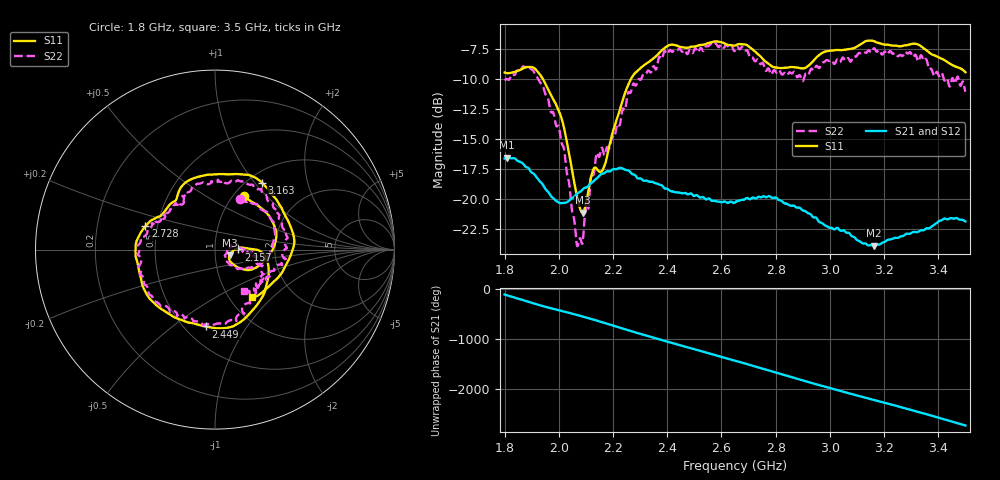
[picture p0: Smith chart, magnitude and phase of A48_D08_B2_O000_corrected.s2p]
! Created with skrf 1.9.0 (http://scikit-rf.org).
# Hz S RI R 50.0
!freq ReS11 ImS11 ReS21 ImS21 ReS12 ImS12 ReS22 ImS22
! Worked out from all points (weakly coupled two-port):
!   1601 points, 1.8 GHz to 3.5 GHz, reference 50 ohm
!   highest |S21| = -16.56 dB at 1.81 GHz (marker M1); lowest = -23.9 dB at 3.161 GHz (marker M2)
!   lowest |S11| = -21.2 dB at 2.088 GHz (marker M3), VSWR 1.19, Z = 58.7 - j3.85 ohm
!   |S11| at or under -10 dB: 1.942 GHz to 2.266 GHz (324.2 MHz wide, 15.4 % of centre)
!   |S22| runs from -24.0 to -7.0 dB; largest |S21 - S12| = 0.0027
!   S11 on the Smith chart (normalised r, x): 1.8 GHz: 1.12, +0.75; 2.157 GHz: 1.30, +0.00; 2.449 GHz: 0.63, -0.67; 2.728 GHz: 0.43, +0.13; 3.163 GHz: 1.16, +1.09; 3.5 GHz: 1.27, -0.76
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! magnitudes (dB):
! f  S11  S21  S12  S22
! 1.8 GHz  -9.4  -16.6  -16.6  -10.1
! 1.81 GHz  -9.5  -16.6  -16.6  -10.0
! 1.886 GHz  -9.0  -17.4  -17.5  -8.9
! 1.94 GHz  -9.9  -18.8  -18.8  -10.5
! 2.011 GHz  -13.4  -20.4  -20.4  -15.4
! 2.065 GHz  -19.5  -19.6  -19.6  -23.5
! 2.084 GHz  -21.1  -19.3  -19.3  -23.6
! 2.088 GHz  -21.2  -19.2  -19.2  -23.7
! 2.127 GHz  -17.5  -18.6  -18.6  -18.0
! 2.157 GHz  -17.7  -17.9  -17.9  -15.8
! 2.19 GHz  -15.2  -17.7  -17.7  -15.5
! 2.262 GHz  -10.2  -17.7  -17.7  -11.1
! 2.367 GHz  -7.9  -18.8  -18.7  -8.3
! 2.449 GHz  -7.3  -19.5  -19.5  -7.5
! 2.65 GHz  -7.2  -20.3  -20.3  -7.6
! 2.728 GHz  -7.8  -20.0  -20.0  -8.5
! 2.8 GHz  -9.0  -19.9  -19.9  -9.4
! 2.934 GHz  -8.6  -21.4  -21.4  -9.1
! 3.161 GHz  -6.8  -23.9  -23.9  -7.4
! 3.163 GHz  -6.8  -23.9  -23.9  -7.4
! 3.217 GHz  -7.1  -23.4  -23.4  -7.8
! 3.5 GHz  -9.4  -21.9  -21.9  -11.0
